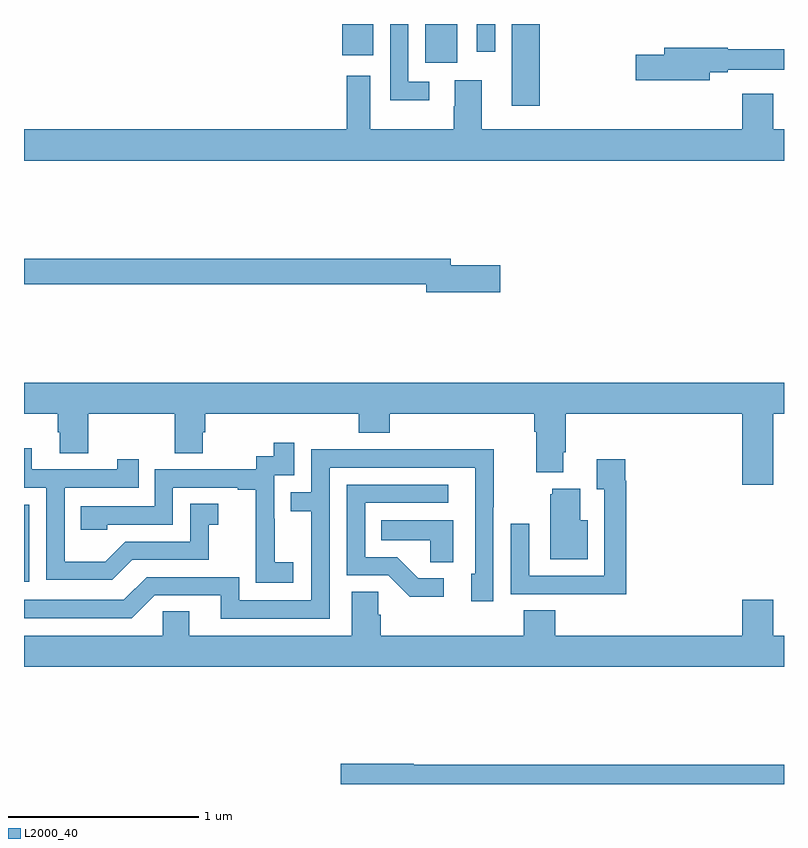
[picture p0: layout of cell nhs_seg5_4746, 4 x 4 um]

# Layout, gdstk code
import gdstk
lib = gdstk.Library(unit=1e-6, precision=1e-09)
def R(c, l, rs):  # rectangles x0, y0, x1, y1
    for r in rs: c.add(gdstk.rectangle(r[:2], r[2:], *l))
def P(c, l, *ps):  # polygons
    for p in ps: c.add(gdstk.Polygon(p, *l))
L2000_40 = (2000, 40)

nhs_seg5_4746 = lib.new_cell('nhs_seg5_4746')
R(nhs_seg5_4746, L2000_40, [(389,867.864,389.028,868.269), (391.568,870.369,391.715,870.799), (391.112,870.594,391.279,870.799), (390.674,870.635,390.838,870.799), (391.383,870.654,391.479,870.799)])
P(nhs_seg5_4746, L2000_40, [(391.132,870.495),(391.023,870.495),(391.023,870.799),(390.927,870.799),(390.927,870.398),(391.132,870.398)],
  [(392.608,870.546),(392.704,870.546),(392.704,870.558),(393,870.558),(393,870.667),(392.704,870.667),(392.704,870.674),(392.369,870.674),(392.369,870.638),(392.22,870.638),(392.22,870.503),(392.608,870.503)],
  [(393,870.244),(392.944,870.244),(392.944,870.433),(392.78,870.433),(392.78,870.244),(391.408,870.244),(391.408,870.502),(391.268,870.502),(391.268,870.365),(391.261,870.365),(391.261,870.244),(390.823,870.244),(390.823,870.526),(390.698,870.526),(390.698,870.244),(389,870.244),(389,870.08),(393,870.08)],
  [(391.507,869.528),(391.246,869.528),(391.246,869.564),(389,869.564),(389,869.428),(391.118,869.428),(391.118,869.386),(391.507,869.386)],
  [(392.944,868.748),(393,868.748),(393,868.912),(389,868.912),(389,868.748),(389.177,868.748),(389.177,868.65),(389.189,868.65),(389.189,868.54),(389.337,868.54),(389.337,868.748),(389.794,868.748),(389.794,868.54),(389.941,868.54),(389.941,868.65),(389.954,868.65),(389.954,868.748),(390.761,868.748),(390.761,868.649),(390.926,868.649),(390.926,868.748),(391.685,868.748),(391.685,868.652),(391.697,868.652),(391.697,868.439),(391.837,868.439),(391.837,868.546),(391.85,868.546),(391.85,868.748),(392.78,868.748),(392.78,868.374),(392.944,868.374)],
  [(390.418,867.967),(390.32,867.967),(390.32,868.196),(390.318,868.196),(390.318,868.425),(390.423,868.425),(390.423,868.594),(390.315,868.594),(390.315,868.524),(390.222,868.524),(390.222,868.455),(389.688,868.455),(389.688,868.26),(389.299,868.26),(389.299,868.137),(389.439,868.137),(389.439,868.164),(389.784,868.164),(389.784,868.359),(390.125,868.359),(390.125,868.347),(390.221,868.347),(390.221,868.063),(390.22,868.063),(390.22,867.857),(390.418,867.857)],
  [(389.569,867.978),(389.973,867.978),(389.973,868.163),(390.022,868.163),(390.022,868.273),(389.874,868.273),(389.874,868.074),(389.532,868.074),(389.428,867.97),(389.214,867.97),(389.214,868.359),(389.603,868.359),(389.603,868.507),(389.492,868.507),(389.492,868.455),(389.041,868.455),(389.041,868.567),(389,868.567),(389,868.359),(389.118,868.359),(389.118,867.873),(389.464,867.873)],
  [(390.609,868.464),(391.374,868.464),(391.374,867.906),(391.355,867.906),(391.355,867.762),(391.47,867.762),(391.47,868.255),(391.473,868.255),(391.473,868.562),(391.009,868.562),(391.009,868.56),(390.513,868.56),(390.513,868.335),(390.403,868.335),(390.403,868.234),(390.513,868.234),(390.513,867.765),(390.132,867.765),(390.132,867.888),(389.646,867.888),(389.526,867.768),(389,867.768),(389,867.672),(389.568,867.672),(389.688,867.792),(390.035,867.792),(390.035,867.669),(390.609,867.669)],
  [(392.171,868.394),(392.164,868.394),(392.164,868.507),(392.015,868.507),(392.015,868.351),(392.055,868.351),(392.055,867.894),(391.659,867.894),(391.659,868.168),(391.563,868.168),(391.563,867.798),(391.879,867.798),(391.879,867.797),(392.171,867.797)],
  [(391.21,867.882),(391.075,867.882),(390.964,867.993),(390.795,867.993),(390.795,868.278),(391.234,868.278),(391.234,868.374),(390.699,868.374),(390.699,867.897),(390.918,867.897),(391.031,867.785),(391.21,867.785)],
  [(391.966,868.186),(391.927,868.186),(391.927,868.354),(391.781,868.354),(391.781,868.323),(391.769,868.323),(391.769,867.983),(391.966,867.983)],
  [(391.258,868.186),(390.88,868.186),(390.88,868.082),(391.137,868.082),(391.137,867.967),(391.258,867.967)],
  [(393,867.58),(392.944,867.58),(392.944,867.769),(392.78,867.769),(392.78,867.58),(391.796,867.58),(391.796,867.713),(391.631,867.713),(391.631,867.58),(390.878,867.58),(390.878,867.689),(390.864,867.689),(390.864,867.812),(390.725,867.812),(390.725,867.58),(389.869,867.58),(389.869,867.707),(389.73,867.707),(389.73,867.58),(389,867.58),(389,867.416),(393,867.416)],
  [(393,866.9),(391.05,866.9),(391.05,866.906),(390.666,866.906),(390.666,866.799),(393,866.799)])

lib.write_gds('nhs_seg5_4746.gds')
